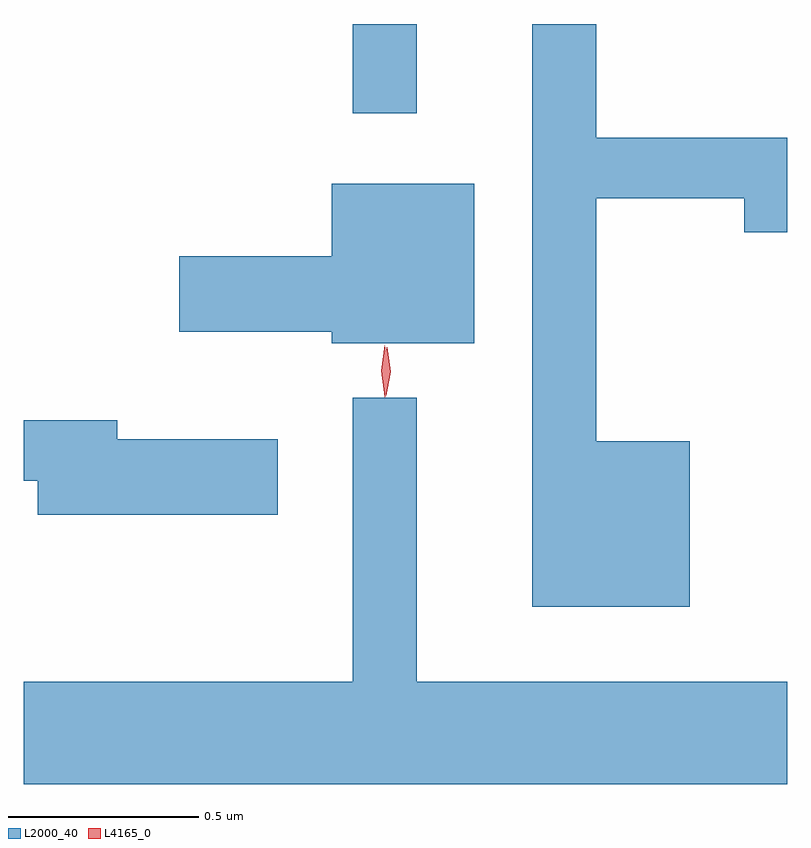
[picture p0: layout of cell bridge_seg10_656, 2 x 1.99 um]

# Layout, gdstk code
import gdstk
lib = gdstk.Library(unit=1e-6, precision=1e-09)
def R(c, l, rs):  # rectangles x0, y0, x1, y1
    for r in rs: c.add(gdstk.rectangle(r[:2], r[2:], *l))
def P(c, l, *ps):  # polygons
    for p in ps: c.add(gdstk.Polygon(p, *l))
L2000_40 = (2000, 40)
L4165_0 = (4165, 0)

bridge_seg10_656 = lib.new_cell('bridge_seg10_656')
R(bridge_seg10_656, L2000_40, [(649.731,2133.433,649.899,2133.667)])
P(bridge_seg10_656, L2000_40, [(650.614,2132.574),(650.369,2132.574),(650.369,2133.211),(650.756,2133.211),(650.756,2133.121),(650.869,2133.121),(650.869,2133.369),(650.369,2133.369),(650.369,2133.667),(650.201,2133.667),(650.201,2132.141),(650.614,2132.141)],
  [(650.049,2133.249),(649.676,2133.249),(649.676,2133.059),(649.276,2133.059),(649.276,2132.861),(649.676,2132.861),(649.676,2132.831),(650.049,2132.831)],
  [(650.869,2131.944),(649.899,2131.944),(649.899,2132.688),(649.731,2132.688),(649.731,2131.944),(648.869,2131.944),(648.869,2131.676),(650.869,2131.676)],
  [(649.534,2132.579),(649.114,2132.579),(649.114,2132.629),(648.869,2132.629),(648.869,2132.471),(648.906,2132.471),(648.906,2132.381),(649.534,2132.381)])
P(bridge_seg10_656, L4165_0, [(649.818,2132.693),(649.818,2132.693),(649.809,2132.756),(649.82,2132.82),(649.821,2132.82),(649.821,2132.82),(649.83,2132.756),(649.819,2132.693)],
  [(649.815,2132.689),(649.814,2132.69),(649.805,2132.758),(649.814,2132.825),(649.814,2132.826),(649.815,2132.825),(649.824,2132.758),(649.816,2132.69)])

lib.write_gds('bridge_seg10_656.gds')
